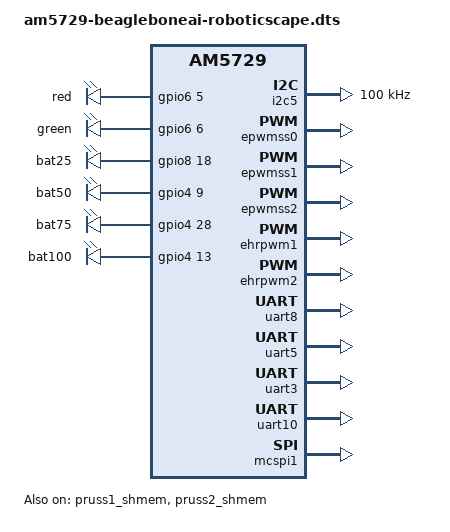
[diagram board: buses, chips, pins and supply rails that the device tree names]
/*
 * Copyright (C) 2014-2019 Texas Instruments Incorporated - http://www.ti.com/
 *
 * This program is free software; you can redistribute it and/or modify
 * it under the terms of the GNU General Public License version 2 as
 * published by the Free Software Foundation.
 */
#include "am5729-beagleboneai.dts"

/ {
	chosen {
		base_dtb = "am5729-beagleboneai-roboticscape.dts";
		base_dtb_timestamp = __TIMESTAMP__;
	};

	rcleds {
		compatible = "gpio-leds";
		pinctrl-names = "default";
		pinctrl-0 = <&cape_pins_rc>;

		red_led {
			label = "red";
			gpios = <&gpio6 5 GPIO_ACTIVE_HIGH>;
			default-state = "off";
		};

		green_led {
			label = "green";
			gpios = <&gpio6 6 GPIO_ACTIVE_HIGH>;
			default-state = "off";
		};

		batt_1_led {
			label = "bat25";
			gpios = <&gpio8 18 GPIO_ACTIVE_HIGH>;
			default-state = "off";
		};

		batt_2_led {
			label = "bat50";
			gpios = <&gpio4 9 GPIO_ACTIVE_HIGH>;
			default-state = "off";
		};

		batt_3_led {
			label = "bat75";
			gpios = <&gpio4 28 GPIO_ACTIVE_HIGH>;
			default-state = "off";
		};

		batt_4_led {
			label = "bat100";
			gpios = <&gpio4 13 GPIO_ACTIVE_HIGH>;
			default-state = "off";
		};
	};
};

&ocp {
	pruss1_shmem: pruss_shmem@4b200000 {
		status = "okay";
		compatible = "ti,pruss-shmem";
		reg = <0x4b200000 0x020000>;
	};

	pruss2_shmem: pruss_shmem@4b280000 {
		status = "okay";
		compatible = "ti,pruss-shmem";
		reg = <0x4b280000 0x020000>;
	};
};

&cape_pins {
	status = "disabled";
};

&dra7_pmx_core {
	cape_pins_rc: cape_pins_rc {
		pinctrl-single,pins = <
			DRA7XX_CORE_IOPAD(0x379C, MUX_MODE15) /* AB8: P8.3: mmc3_dat6.off */
			DRA7XX_CORE_IOPAD(0x37A0, MUX_MODE15) /* AB5: P8.4: mmc3_dat7.off */
			DRA7XX_CORE_IOPAD(0x378C, MUX_MODE15) /* AC9: P8.5: mmc3_dat2.off */
			DRA7XX_CORE_IOPAD(0x3790, MUX_MODE15) /* AC3: P8.6: mmc3_dat3.off */
			DRA7XX_CORE_IOPAD(0x36EC, PIN_OUTPUT | MUX_MODE14) /* G14: mcasp1_axr14.gpio6_5 - P8_7 - RED */
			DRA7XX_CORE_IOPAD(0x36F0, PIN_OUTPUT | MUX_MODE14) /* F14: mcasp1_axr15.gpio6_6 - P8_8 - GREEN */
			DRA7XX_CORE_IOPAD(0x3698, PIN_INPUT_PULLUP | MUX_MODE14) /* E17: P8.9: xref_clk1.gpio6_18 - PAUSE */
			DRA7XX_CORE_IOPAD(0x36E8, PIN_INPUT_PULLUP | MUX_MODE14) /* A13: P8.10: mcasp1_axr13.gpio6_4 - MODE */
			DRA7XX_CORE_IOPAD(0x3510, PIN_INPUT | MUX_MODE10) /* AH4: P8.11: vin1a_d7.eQEP2B_in - QEP2B */
			DRA7XX_CORE_IOPAD(0x350C, PIN_INPUT | MUX_MODE10) /* AG6: P8.12: vin1a_d6.eQEP2A_in - QEP2A */
			DRA7XX_CORE_IOPAD(0x3590, PIN_OUTPUT | MUX_MODE10) /* D3: P8.13: vin2a_d10.ehrpwm2B - PWM2B */
			DRA7XX_CORE_IOPAD(0x3598, PIN_OUTPUT | MUX_MODE14) /* D5: vin2a_d12.gpio4_13 - P8_14 - BAT100 */
			DRA7XX_CORE_IOPAD(0x3570, MUX_MODE15) /* D1: P8.15a: vin2a_d2.off */
			DRA7XX_CORE_IOPAD(0x35B4, PIN_INPUT | MUX_MODE12) /* A3: P8.15b: vin2a_d19.pr1_pru1_gpi16 - QEP4B */
			DRA7XX_CORE_IOPAD(0x35BC, PIN_INPUT | MUX_MODE12) /* B4: P8.16: vin2a_d21.pr1_pru1_gpi18 - QEP4A */
			DRA7XX_CORE_IOPAD(0x3624, PIN_OUTPUT | MUX_MODE14) /* A7: vout1_d18.gpio8_18 - P8_17 - BAT25 */
			DRA7XX_CORE_IOPAD(0x3588, PIN_OUTPUT | MUX_MODE14) /* F5: vin2a_d8.gpio4_9 - P8_18 - BAT50 */
			DRA7XX_CORE_IOPAD(0x358C, PIN_OUTPUT | MUX_MODE10) /* E6: P8.19: vin2a_d9.ehrpwm2A - PWM2A */
			DRA7XX_CORE_IOPAD(0x3780, MUX_MODE15) /* AC4: P8.20: mmc3_cmd.off */
			DRA7XX_CORE_IOPAD(0x377C, MUX_MODE15) /* AD4: P8.21: mmc3_clk.off */
			DRA7XX_CORE_IOPAD(0x3798, MUX_MODE15) /* AD6: P8.22: mmc3_dat5.off */
			DRA7XX_CORE_IOPAD(0x3794, MUX_MODE15) /* AC8: P8.23: mmc3_dat4.off */
			DRA7XX_CORE_IOPAD(0x3788, MUX_MODE15) /* AC6: P8.24: mmc3_dat1.off */
			DRA7XX_CORE_IOPAD(0x3784, MUX_MODE15) /* AC7: P8.25: mmc3_dat0.off */
			DRA7XX_CORE_IOPAD(0x35B8, PIN_OUTPUT | MUX_MODE14) /* B3: vin2a_d20.gpio4_28 - P8_26 - BAT75 */
			DRA7XX_CORE_IOPAD(0x35D8, MUX_MODE15) /* E11: P8.27a: vout1_vsync.off */
			DRA7XX_CORE_IOPAD(0x3628, PIN_OUTPUT | MUX_MODE13) /* A8: P8.27b: vout1_d19.pr2_pru0_gpo16 - SVO1 */
			DRA7XX_CORE_IOPAD(0x35C8, MUX_MODE15) /* D11: P8.28a: vout1_clk.off */
			DRA7XX_CORE_IOPAD(0x362C, PIN_OUTPUT | MUX_MODE13) /* C9: P8.28b: vout1_d20.pr2_pru0_gpo17 - SVO2 */
			DRA7XX_CORE_IOPAD(0x35D4, MUX_MODE15) /* C11: P8.29a: vout1_hsync.off */
			DRA7XX_CORE_IOPAD(0x3630, PIN_OUTPUT | MUX_MODE13) /* A9: P8.29b: vout1_d21.pr2_pru0_gpo18 - SVO3 */
			DRA7XX_CORE_IOPAD(0x35CC, MUX_MODE15) /* B10: P8.30a: vout1_de.off */
			DRA7XX_CORE_IOPAD(0x3634, PIN_OUTPUT | MUX_MODE13) /* B9: P8.30b: vout1_d22.pr2_pru0_gpo19 - SVO4 */
			DRA7XX_CORE_IOPAD(0x3614, MUX_MODE15) /* C8: P8.31a: vout1_d14.off */
			DRA7XX_CORE_IOPAD(0x373C, MUX_MODE15) /* G16: P8.31b: mcasp4_axr0.off */
			DRA7XX_CORE_IOPAD(0x3618, MUX_MODE15) /* C7: P8.32a: vout1_d15.off */
			DRA7XX_CORE_IOPAD(0x3740, MUX_MODE15) /* D17: P8.32b: mcasp4_axr1.off */
			DRA7XX_CORE_IOPAD(0x3610, MUX_MODE15) /* C6: P8.33a: vout1_d13.off */
			DRA7XX_CORE_IOPAD(0x34E8, PIN_INPUT | MUX_MODE10) /* AF9: P8.33b: vin1a_fld0.eQEP1B_in - QEP1B */
			DRA7XX_CORE_IOPAD(0x3608, PIN_OUTPUT | MUX_MODE14) /* D8: P8.34a: vout1_d11.gpio8_11 - MDIR2B */
			DRA7XX_CORE_IOPAD(0x3564, MUX_MODE15) /* G6: P8.34b: vin2a_vsync0.off */
			DRA7XX_CORE_IOPAD(0x360C, MUX_MODE15) /* A5: P8.35a: vout1_d12.off */
			DRA7XX_CORE_IOPAD(0x34E4, PIN_INPUT | MUX_MODE10) /* AD9: P8.35b: vin1a_de0.eQEP1A_in - QEP1A */
			DRA7XX_CORE_IOPAD(0x3604, PIN_OUTPUT | MUX_MODE14) /* D7: P8.36a: vout1_d10.gpio8_10 - SERVO_EN */
			DRA7XX_CORE_IOPAD(0x3568, MUX_MODE15) /* F2: P8.36b: vin2a_d0.off */
			DRA7XX_CORE_IOPAD(0x35FC, MUX_MODE15) /* E8: P8.37a: vout1_d8.off */
			DRA7XX_CORE_IOPAD(0x3738, PIN_OUTPUT | MUX_MODE3) /* A21: P8.37b: mcasp4_fsx.uart8_txd - UART5_TX */
			DRA7XX_CORE_IOPAD(0x3600, MUX_MODE15) /* D9: P8.38a: vout1_d9.off */
			DRA7XX_CORE_IOPAD(0x3734, PIN_INPUT | MUX_MODE3) /* C18: P8.38b: mcasp4_aclkx.uart8_rxd - UART5_RX */
			DRA7XX_CORE_IOPAD(0x35F4, PIN_OUTPUT | MUX_MODE13) /* F8: P8.39: vout1_d6.pr2_pru0_gpo3 - SVO5 */
			DRA7XX_CORE_IOPAD(0x35F8, PIN_OUTPUT | MUX_MODE13) /* E7: P8.40: vout1_d7.pr2_pru0_gpo4 - SVO6 */
			DRA7XX_CORE_IOPAD(0x35EC, PIN_OUTPUT | MUX_MODE13) /* E9: P8.41: vout1_d4.pr2_pru0_gpo1 - SVO7 */
			DRA7XX_CORE_IOPAD(0x35F0, PIN_OUTPUT | MUX_MODE13) /* F9: P8.42: vout1_d5.pr2_pru0_gpo2 - SVO8 */
			DRA7XX_CORE_IOPAD(0x35E4, PIN_OUTPUT | MUX_MODE14 ) /* F10: P8.43: vout1_d2.gpio8_2 - MDIR3B */
			DRA7XX_CORE_IOPAD(0x35E8, PIN_OUTPUT | MUX_MODE14 ) /* G11: P8.44: vout1_d3.gpio8_3 - MDIR3A */
			DRA7XX_CORE_IOPAD(0x35DC, PIN_OUTPUT | MUX_MODE14 ) /* F11: P8.45a: vout1_d0.gpio8_0 - MDIR4A */
			DRA7XX_CORE_IOPAD(0x361C, MUX_MODE15) /* B7: P8.45b: vout1_d16.off */
			DRA7XX_CORE_IOPAD(0x35E0, PIN_OUTPUT | MUX_MODE14 ) /* G10: P8.46a: vout1_d1.gpio8_1 - MDIR4B */
			DRA7XX_CORE_IOPAD(0x3638, MUX_MODE15) /* A10: P8.46b: vout1_d23.off */
			DRA7XX_CORE_IOPAD(0x372C, PIN_INPUT | MUX_MODE4) /* B19: P9.11a: mcasp3_axr0.uart5_rxd - UART4_RX */
			DRA7XX_CORE_IOPAD(0x3620, MUX_MODE15) /* B8: P9.11b: vout1_d17.off */
			DRA7XX_CORE_IOPAD(0x36AC, PIN_OUTPUT | MUX_MODE14) /* B14: P9.12: mcasp1_aclkr.gpio5_0 - MDIR1A */
			DRA7XX_CORE_IOPAD(0x3730, PIN_OUTPUT | MUX_MODE14) /* C17: P9.13: mcasp3_axr1.off - MDIR1B */
			DRA7XX_CORE_IOPAD(0x35AC, PIN_OUTPUT | MUX_MODE10) /* D6: P9.14: vin2a_d17.ehrpwm3A - PWM1A */
			DRA7XX_CORE_IOPAD(0x3514, PIN_OUTPUT | MUX_MODE14) /* AG4: P9.15: vin1a_d8.gpio3_12 - MDIR2A */
			DRA7XX_CORE_IOPAD(0x35B0, PIN_OUTPUT | MUX_MODE10) /* C5: P9.16: vin2a_d18.ehrpwm3B - PWM1B */
			DRA7XX_CORE_IOPAD(0x37CC, PIN_INPUT | MUX_MODE14) /* B24: P9.17a: spi2_cs0.gpio7_17 */
			DRA7XX_CORE_IOPAD(0x36B8, PIN_INPUT_PULLUP | SLEWCONTROL | MUX_MODE10) /* F12: P9.17b: mcasp1_axr1.i2c5_scl - I2C1_SCL */
			DRA7XX_CORE_IOPAD(0x37C8, PIN_INPUT | MUX_MODE14) /* G17: P9.18a: spi2_d0.gpio7_16 */
			DRA7XX_CORE_IOPAD(0x36B4, PIN_INPUT_PULLUP | SLEWCONTROL | MUX_MODE10) /* G12: P9.18b: mcasp1_axr0.i2c5_sda - I2C1_SDA */
			DRA7XX_CORE_IOPAD(0x3440, PIN_INPUT | MUX_MODE7) /* R6: P9.19a: gpmc_a0.i2c4_scl - I2C2_SCL */
			DRA7XX_CORE_IOPAD(0x357C, PIN_INPUT | MUX_MODE12 ) /* F4: P9.19b: vin2a_d5.pr1_pru1_gpi2 */
			DRA7XX_CORE_IOPAD(0x3444, PIN_INPUT | MUX_MODE7) /* T9: P9.20a: gpmc_a1.i2c4_sda - I2C2_SDA */
			DRA7XX_CORE_IOPAD(0x3578, PIN_INPUT | MUX_MODE12) /* D2: P9.20b: vin2a_d4.pr1_pru1_gpi1 */
			DRA7XX_CORE_IOPAD(0x34F0, MUX_MODE15) /* AF8: P9.21a: vin1a_vsync0.off */
			DRA7XX_CORE_IOPAD(0x37C4, PIN_OUTPUT | MUX_MODE1) /* B22: P9.21b: spi2_d1.uart3_txd - UART2_TX */
			DRA7XX_CORE_IOPAD(0x369C, MUX_MODE15) /* B26: P9.22a: xref_clk2.off */
			DRA7XX_CORE_IOPAD(0x37C0, PIN_INPUT | MUX_MODE1) /* A26: P9.22b: spi2_sclk.uart3_rxd - UART2_RX */
			DRA7XX_CORE_IOPAD(0x37B4, PIN_OUTPUT | MUX_MODE14) /* A22: P9.23: spi1_cs1.gpio7_11 - SPI1_SS2 */
			DRA7XX_CORE_IOPAD(0x368C, PIN_OUTPUT | MUX_MODE3) /* F20: P9.24: gpio6_15.uart10_txd - UART1_TX */
			DRA7XX_CORE_IOPAD(0x3694, PIN_INPUT | MUX_MODE14) /* D18: P9.25: xref_clk0.gpio6_17 - IMU_INT */
			DRA7XX_CORE_IOPAD(0x3688, PIN_INPUT | MUX_MODE3) /* E21: P9.26a: gpio6_14.uart10_rxd - UART1_RX */
			DRA7XX_CORE_IOPAD(0x3544, MUX_MODE15) /* AE2: P9.26b: vin1a_d20.off */
			DRA7XX_CORE_IOPAD(0x35A0, PIN_INPUT | MUX_MODE10) /* C3: P9.27a: vin2a_d14.eQEP3B_in - QEP0B */
			DRA7XX_CORE_IOPAD(0x36B0, MUX_MODE15) /* J14: P9.27b: mcasp1_fsr.off */
			DRA7XX_CORE_IOPAD(0x36E0, PIN_OUTPUT | MUX_MODE3) /* A12: P9.28: mcasp1_axr11.spi3_cs0 - SPI1_SS1 */
			DRA7XX_CORE_IOPAD(0x36D8, PIN_INPUT | MUX_MODE3) /* A11: P9.29a: mcasp1_axr9.spi3_d1 - SPI1_MISO */
			DRA7XX_CORE_IOPAD(0x36A8, MUX_MODE15) /* D14: P9.29b: mcasp1_fsx.off */
			DRA7XX_CORE_IOPAD(0x36DC, PIN_OUTPUT | MUX_MODE3) /* B13: P9.30: mcasp1_axr10.spi3_d0 - SPI1_MOSI */
			DRA7XX_CORE_IOPAD(0x36D4, PIN_OUTPUT | MUX_MODE3) /* B12: P9.31a: mcasp1_axr8.spi3_sclk - SPI1_SCK */
			DRA7XX_CORE_IOPAD(0x36A4, MUX_MODE15) /* C14: P9.31b: mcasp1_aclkx.off */
			DRA7XX_CORE_IOPAD(0x36A0, PIN_OUTPUT | MUX_MODE14) /* C23: P9.41a: xref_clk3.gpio6_20 - MOT_STBY */
			DRA7XX_CORE_IOPAD(0x3580, MUX_MODE15) /* C1: P9.41b: vin2a_d6.off */
			DRA7XX_CORE_IOPAD(0x36E4, MUX_MODE15) /* E14: P9.42a: mcasp1_axr12.off */
			DRA7XX_CORE_IOPAD(0x359C, PIN_INPUT | MUX_MODE10) /* C2: P9.42b: vin2a_d13.eQEP3A_in - QEP0A */
		>;
	};
};

&i2c5 {
	status = "okay";
	clock-frequency = <100000>;
};

&epwmss0 {
	status = "okay";
};

&epwmss1 {
	status = "okay";
};

&epwmss2 {
	status = "okay";
};

&ehrpwm1 {
	status = "okay";
};

&ehrpwm2 {
	status = "okay";
};

&uart8 {
	status = "okay";
};

&uart5 {
	status = "okay";
};

&uart3 {
	status = "okay";
};

&uart10 {
	status = "okay";
};

&mcspi1 {
	#address-cells = <1>;
	#size-cells = <0>;
	status = "okay";

	cs-gpios = <0>, <&gpio7 11 0>;

	channel@0 {
		#address-cells = <1>;
		#size-cells = <0>;
		compatible = "spidev";
		reg = <0>;
		spi-max-frequency = <24000000>;
	};

	channel@1 {
		#address-cells = <1>;
		#size-cells = <0>;
		compatible = "spidev";
		reg = <1>;
		spi-max-frequency = <24000000>;
	};
};
